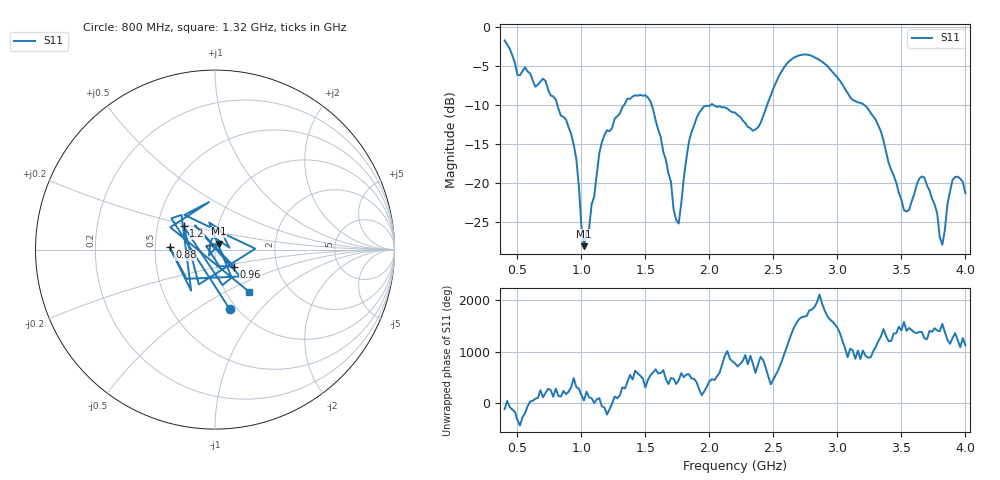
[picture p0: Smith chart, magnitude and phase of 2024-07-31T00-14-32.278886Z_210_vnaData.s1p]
!Created with skrf (http://scikit-rf.org).
# Hz S RI R 50.0
!freq ReS11 ImS11
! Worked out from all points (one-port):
!   181 points, 400 MHz to 4 GHz, reference 50 ohm
!   lowest |S11| = -28.2 dB at 1.02 GHz (marker M1), VSWR 1.08, Z = 52.1 + j3.41 ohm
!   |S11| at or under -10 dB: 811.7 MHz to 1.334 GHz (522.2 MHz wide, 48.7 % of centre); 1.548 GHz to 2.012 GHz (463.3 MHz wide, 26 % of centre); 3.209 GHz to end of sweep (the widest 3 of 4)
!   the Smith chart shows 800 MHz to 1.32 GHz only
!   S11 on the Smith chart (normalised r, x): 800 MHz: 0.93, -0.70; 880 MHz: 0.60, +0.02; 960 MHz: 1.21, -0.24; 1.2 GHz: 0.68, +0.19; 1.32 GHz: 1.28, -0.67
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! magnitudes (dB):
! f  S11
! 400 MHz  -1.7
! 500 MHz  -6.1
! 800 MHz  -9.3
! 860 MHz  -11.5
! 880 MHz  -11.9
! 960 MHz  -16.9
! 1.02 GHz  -28.2
! 1.06 GHz  -25.9
! 1.14 GHz  -16.2
! 1.2 GHz  -13.3
! 1.3 GHz  -11.1
! 1.32 GHz  -10.3
! 1.54 GHz  -9.6
! 1.76 GHz  -25.3
! 1.84 GHz  -14.7
! 1.92 GHz  -11.0
! 2.2 GHz  -11.0
! 2.38 GHz  -12.9
! 2.66 GHz  -3.9
! 2.88 GHz  -4.4
! 3.1 GHz  -9.0
! 3.3 GHz  -11.9
! 3.52 GHz  -23.5
! 3.56 GHz  -23.5
! 3.68 GHz  -19.4
! 3.82 GHz  -28.0
! 3.9 GHz  -19.6
! 4 GHz  -21.4
